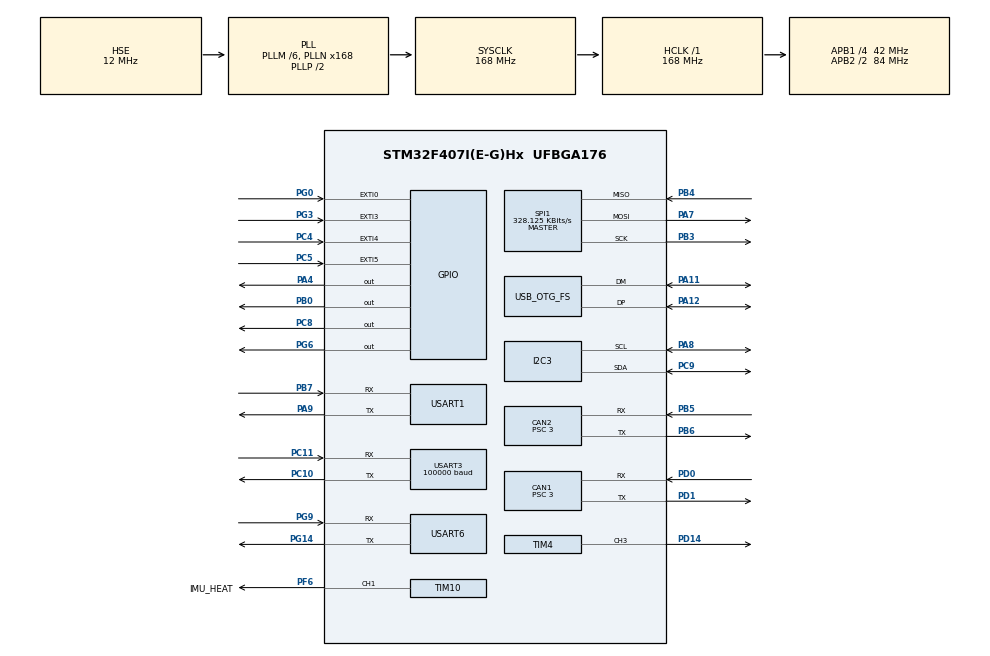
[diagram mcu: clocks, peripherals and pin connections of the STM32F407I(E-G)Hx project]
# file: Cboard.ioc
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CAN1.BS1=CAN_BS1_10TQ
CAN1.BS2=CAN_BS2_3TQ
CAN1.CalculateBaudRate=1000000
CAN1.CalculateTimeBit=1000
CAN1.CalculateTimeQuantum=71.42857142857143
CAN1.Prescaler=3
CAN2.BS1=CAN_BS1_10TQ
CAN2.BS2=CAN_BS2_3TQ
CAN2.CalculateBaudRate=1000000
CAN2.CalculateTimeBit=1000
CAN2.CalculateTimeQuantum=71.42857142857143
CAN2.Prescaler=3
Dma.Request0=SPI1_RX
Dma.Request1=SPI1_TX
Dma.Request2=USART3_RX
Dma.Request3=USART6_RX
Dma.Request4=USART6_TX
Dma.Request5=USART1_TX
Dma.Request6=USART1_RX
Dma.SPI1_RX.0.Direction=DMA_PERIPH_TO_MEMORY
Dma.SPI1_RX.0.FIFOMode=DMA_FIFOMODE_DISABLE
Dma.SPI1_RX.0.Instance=DMA2_Stream2
Dma.SPI1_RX.0.MemDataAlignment=DMA_MDATAALIGN_BYTE
Dma.SPI1_RX.0.MemInc=DMA_MINC_ENABLE
Dma.SPI1_RX.0.Mode=DMA_NORMAL
Dma.SPI1_RX.0.PeriphDataAlignment=DMA_PDATAALIGN_BYTE
Dma.SPI1_RX.0.PeriphInc=DMA_PINC_DISABLE
Dma.SPI1_RX.0.Priority=DMA_PRIORITY_VERY_HIGH
Dma.SPI1_TX.1.Direction=DMA_MEMORY_TO_PERIPH
Dma.SPI1_TX.1.FIFOMode=DMA_FIFOMODE_DISABLE
Dma.SPI1_TX.1.Instance=DMA2_Stream3
Dma.SPI1_TX.1.MemDataAlignment=DMA_MDATAALIGN_BYTE
Dma.SPI1_TX.1.MemInc=DMA_MINC_ENABLE
Dma.SPI1_TX.1.Mode=DMA_NORMAL
Dma.SPI1_TX.1.PeriphDataAlignment=DMA_PDATAALIGN_BYTE
Dma.SPI1_TX.1.PeriphInc=DMA_PINC_DISABLE
Dma.SPI1_TX.1.Priority=DMA_PRIORITY_HIGH
Dma.USART1_RX.6.Direction=DMA_PERIPH_TO_MEMORY
Dma.USART1_RX.6.FIFOMode=DMA_FIFOMODE_DISABLE
Dma.USART1_RX.6.Instance=DMA2_Stream5
Dma.USART1_RX.6.MemDataAlignment=DMA_MDATAALIGN_BYTE
Dma.USART1_RX.6.MemInc=DMA_MINC_ENABLE
Dma.USART1_RX.6.Mode=DMA_CIRCULAR
Dma.USART1_RX.6.PeriphDataAlignment=DMA_PDATAALIGN_BYTE
Dma.USART1_RX.6.PeriphInc=DMA_PINC_DISABLE
Dma.USART1_RX.6.Priority=DMA_PRIORITY_MEDIUM
Dma.USART1_TX.5.Direction=DMA_MEMORY_TO_PERIPH
Dma.USART1_TX.5.FIFOMode=DMA_FIFOMODE_DISABLE
Dma.USART1_TX.5.Instance=DMA2_Stream7
Dma.USART1_TX.5.MemDataAlignment=DMA_MDATAALIGN_BYTE
Dma.USART1_TX.5.MemInc=DMA_MINC_ENABLE
Dma.USART1_TX.5.Mode=DMA_CIRCULAR
Dma.USART1_TX.5.PeriphDataAlignment=DMA_PDATAALIGN_BYTE
Dma.USART1_TX.5.PeriphInc=DMA_PINC_DISABLE
Dma.USART1_TX.5.Priority=DMA_PRIORITY_MEDIUM
Dma.USART3_RX.2.Direction=DMA_PERIPH_TO_MEMORY
Dma.USART3_RX.2.FIFOMode=DMA_FIFOMODE_DISABLE
Dma.USART3_RX.2.Instance=DMA1_Stream1
Dma.USART3_RX.2.MemDataAlignment=DMA_MDATAALIGN_BYTE
Dma.USART3_RX.2.MemInc=DMA_MINC_ENABLE
Dma.USART3_RX.2.Mode=DMA_CIRCULAR
Dma.USART3_RX.2.PeriphDataAlignment=DMA_PDATAALIGN_BYTE
Dma.USART3_RX.2.PeriphInc=DMA_PINC_DISABLE
Dma.USART3_RX.2.Priority=DMA_PRIORITY_VERY_HIGH
Dma.USART6_RX.3.Direction=DMA_PERIPH_TO_MEMORY
Dma.USART6_RX.3.FIFOMode=DMA_FIFOMODE_DISABLE
Dma.USART6_RX.3.Instance=DMA2_Stream1
Dma.USART6_RX.3.MemDataAlignment=DMA_MDATAALIGN_BYTE
Dma.USART6_RX.3.MemInc=DMA_MINC_ENABLE
Dma.USART6_RX.3.Mode=DMA_NORMAL
Dma.USART6_RX.3.PeriphDataAlignment=DMA_PDATAALIGN_BYTE
Dma.USART6_RX.3.PeriphInc=DMA_PINC_DISABLE
Dma.USART6_RX.3.Priority=DMA_PRIORITY_HIGH
Dma.USART6_TX.4.Direction=DMA_MEMORY_TO_PERIPH
Dma.USART6_TX.4.FIFOMode=DMA_FIFOMODE_DISABLE
Dma.USART6_TX.4.Instance=DMA2_Stream6
Dma.USART6_TX.4.MemDataAlignment=DMA_MDATAALIGN_BYTE
Dma.USART6_TX.4.MemInc=DMA_MINC_ENABLE
Dma.USART6_TX.4.Mode=DMA_NORMAL
Dma.USART6_TX.4.PeriphDataAlignment=DMA_PDATAALIGN_BYTE
Dma.USART6_TX.4.PeriphInc=DMA_PINC_DISABLE
Dma.USART6_TX.4.Priority=DMA_PRIORITY_VERY_HIGH
FREERTOS.INCLUDE_eTaskGetState=1
FREERTOS.INCLUDE_pcTaskGetTaskName=1
FREERTOS.INCLUDE_uxTaskGetStackHighWaterMark=1
FREERTOS.INCLUDE_uxTaskGetStackHighWaterMark2=0
FREERTOS.INCLUDE_vTaskCleanUpResources=1
FREERTOS.INCLUDE_vTaskDelayUntil=1
FREERTOS.INCLUDE_xEventGroupSetBitFromISR=1
FREERTOS.INCLUDE_xQueueGetMutexHolder=1
FREERTOS.INCLUDE_xSemaphoreGetMutexHolder=1
FREERTOS.INCLUDE_xTaskAbortDelay=1
FREERTOS.INCLUDE_xTaskGetCurrentTaskHandle=1
FREERTOS.INCLUDE_xTaskGetHandle=1
FREERTOS.INCLUDE_xTimerPendFunctionCall=1
FREERTOS.Tasks01=Check_Task,-1,256,Start_Check_Task,Default,NULL,Dynamic,NULL,NULL;Ins_Task,3,1024,Start_Ins_Task,Default,NULL,Dynamic,NULL,NULL;Chassis_Task,2,1024,Start_Chassis_Task,Default,NULL,Dynamic,NULL,NULL;Board_Can_Task,0,256,Start_Board_Can_Task,Default,NULL,Dynamic,NULL,NULL;Ref_Task,0,256,Start_Ref_Task,Default,NULL,Dynamic,NULL,NULL;Super_Cap_Task,1,256,Start_Super_Cap,Default,NULL,Dynamic,NULL,NULL
FREERTOS.configTOTAL_HEAP_SIZE=24567
FREERTOS.configUSE_TASK_NOTIFICATIONS=1
FREERTOS.configUSE_TIMERS=1
I2C3.I2C_Mode=I2C_Fast
Mcu.Family=STM32F4
Mcu.Name=STM32F407I(E-G)Hx
Mcu.Package=UFBGA176
NVIC.CAN1_RX0_IRQn=true\:5\:0\:true\:false\:true\:true\:true\:true\:true
NVIC.CAN2_RX1_IRQn=true\:5\:0\:true\:false\:true\:true\:true\:true\:true
NVIC.DMA1_Stream1_IRQn=true\:5\:0\:false\:false\:true\:true\:false\:true\:true
NVIC.DMA2_Stream1_IRQn=true\:5\:0\:false\:false\:true\:true\:false\:true\:true
NVIC.DMA2_Stream2_IRQn=true\:5\:0\:false\:false\:true\:true\:false\:true\:true
NVIC.DMA2_Stream3_IRQn=true\:5\:0\:false\:false\:true\:true\:false\:true\:true
NVIC.DMA2_Stream5_IRQn=true\:5\:0\:false\:false\:true\:true\:false\:true\:true
NVIC.DMA2_Stream6_IRQn=true\:5\:0\:false\:false\:true\:true\:false\:true\:true
NVIC.DMA2_Stream7_IRQn=true\:5\:0\:false\:false\:true\:true\:false\:true\:true
NVIC.EXTI0_IRQn=true\:5\:0\:false\:false\:true\:true\:true\:true\:true
NVIC.EXTI3_IRQn=true\:5\:0\:false\:false\:true\:true\:true\:true\:true
NVIC.EXTI4_IRQn=true\:5\:0\:false\:false\:true\:true\:true\:true\:true
NVIC.EXTI9_5_IRQn=true\:5\:0\:false\:false\:true\:true\:true\:true\:true
NVIC.OTG_FS_IRQn=true\:5\:0\:false\:false\:true\:true\:false\:true\:true
NVIC.PriorityGroup=NVIC_PRIORITYGROUP_4
NVIC.TIM2_IRQn=true\:15\:0\:false\:false\:true\:false\:false\:true\:true
NVIC.TIM3_IRQn=true\:5\:0\:false\:false\:true\:true\:true\:true\:true
NVIC.TimeBase=TIM2_IRQn
NVIC.TimeBaseIP=TIM2
NVIC.USART3_IRQn=true\:5\:0\:false\:false\:true\:true\:true\:true\:true
NVIC.USART6_IRQn=true\:5\:0\:false\:false\:true\:true\:true\:true\:true
PA11.Mode=Device_Only
PA11.Signal=USB_OTG_FS_DM
PA12.Mode=Device_Only
PA12.Signal=USB_OTG_FS_DP
PA13.Mode=Serial_Wire
PA13.Signal=SYS_JTMS-SWDIO
PA14.Mode=Serial_Wire
PA14.Signal=SYS_JTCK-SWCLK
PA4.GPIO_PuPd=GPIO_PULLUP
PA4.GPIO_Speed=GPIO_SPEED_FREQ_HIGH
PA4.PinState=GPIO_PIN_SET
PA4.Signal=GPIO_Output
PA7.GPIO_PuPd=GPIO_PULLUP
PA7.Mode=Full_Duplex_Master
PA7.Signal=SPI1_MOSI
PA8.Mode=I2C
PA8.Signal=I2C3_SCL
PA9.Mode=Asynchronous
PA9.Signal=USART1_TX
PB0.GPIO_PuPd=GPIO_PULLUP
PB0.GPIO_Speed=GPIO_SPEED_FREQ_HIGH
PB0.PinState=GPIO_PIN_SET
PB0.Signal=GPIO_Output
PB3.GPIO_PuPd=GPIO_PULLUP
PB3.Mode=Full_Duplex_Master
PB3.Signal=SPI1_SCK
PB4.GPIO_PuPd=GPIO_PULLUP
PB4.Mode=Full_Duplex_Master
PB4.Signal=SPI1_MISO
PB5.Mode=CAN_Activate
PB5.Signal=CAN2_RX
PB6.Mode=CAN_Activate
PB6.Signal=CAN2_TX
PB7.Mode=Asynchronous
PB7.Signal=USART1_RX
PC10.Mode=Asynchronous
PC10.Signal=USART3_TX
PC11.Mode=Asynchronous
PC11.Signal=USART3_RX
PC4.GPIO_ModeDefaultEXTI=GPIO_MODE_IT_FALLING
PC4.GPIO_PuPd=GPIO_PULLUP
PC4.Signal=GPXTI4
PC5.GPIO_ModeDefaultEXTI=GPIO_MODE_IT_FALLING
PC5.GPIO_PuPd=GPIO_PULLUP
PC5.Signal=GPXTI5
PC8.GPIO_PuPd=GPIO_NOPULL
PC8.PinState=GPIO_PIN_SET
PC8.Signal=GPIO_Output
PC9.Mode=I2C
PC9.Signal=I2C3_SDA
PD0.Mode=CAN_Activate
PD0.Signal=CAN1_RX
PD1.Mode=CAN_Activate
PD1.Signal=CAN1_TX
PD14.Signal=S_TIM4_CH3
PF6.GPIO_Label=IMU_HEAT
PF6.GPIO_PuPd=GPIO_PULLUP
PF6.GPIO_Speed=GPIO_SPEED_FREQ_HIGH
PF6.Signal=S_TIM10_CH1
PG0.GPIO_ModeDefaultEXTI=GPIO_MODE_IT_FALLING
PG0.GPIO_PuPd=GPIO_PULLUP
PG0.Signal=GPXTI0
PG14.Mode=Asynchronous
PG14.Signal=USART6_TX
PG3.GPIO_ModeDefaultEXTI=GPIO_MODE_IT_FALLING
PG3.GPIO_PuPd=GPIO_PULLUP
PG3.Signal=GPXTI3
PG6.GPIO_PuPd=GPIO_PULLUP
PG6.GPIO_Speed=GPIO_SPEED_FREQ_HIGH
PG6.PinState=GPIO_PIN_SET
PG6.Signal=GPIO_Output
PG9.Mode=Asynchronous
PG9.Signal=USART6_RX
PH0-OSC_IN.Mode=HSE-External-Oscillator
PH0-OSC_IN.Signal=RCC_OSC_IN
PH1-OSC_OUT.Mode=HSE-External-Oscillator
PH1-OSC_OUT.Signal=RCC_OSC_OUT
ProjectManager.HeapSize=0x1000
ProjectManager.StackSize=0x400
ProjectManager.TargetToolchain=MDK-ARM V5.32
RCC.48MHZClocksFreq_Value=48000000
RCC.AHBFreq_Value=168000000
RCC.APB1CLKDivider=RCC_HCLK_DIV4
RCC.APB1Freq_Value=42000000
RCC.APB1TimFreq_Value=84000000
RCC.APB2CLKDivider=RCC_HCLK_DIV2
RCC.APB2Freq_Value=84000000
RCC.APB2TimFreq_Value=168000000
RCC.CortexFreq_Value=168000000
RCC.HCLKFreq_Value=168000000
RCC.HSE_VALUE=12000000
RCC.HSI_VALUE=16000000
RCC.LSE_VALUE=32768
RCC.PLLM=6
RCC.PLLN=168
RCC.PLLQ=7
RCC.SYSCLKFreq_VALUE=168000000
RCC.SYSCLKSource=RCC_SYSCLKSOURCE_PLLCLK
RCC.VCOOutputFreq_Value=336000000
SH.S_TIM10_CH1.0=TIM10_CH1,PWM Generation1 CH1
SH.S_TIM4_CH3.0=TIM4_CH3,PWM Generation3 CH3
SPI1.BaudRatePrescaler=SPI_BAUDRATEPRESCALER_256
SPI1.CLKPhase=SPI_PHASE_2EDGE
SPI1.CLKPolarity=SPI_POLARITY_HIGH
SPI1.CalculateBaudRate=328.125 KBits/s
SPI1.Direction=SPI_DIRECTION_2LINES
SPI1.Mode=SPI_MODE_MASTER
SPI1.VirtualType=VM_MASTER
TIM10.Channel=TIM_CHANNEL_1
TIM10.Period=2000-1
TIM10.Prescaler=84-1
TIM3.AutoReloadPreload=TIM_AUTORELOAD_PRELOAD_ENABLE
TIM3.Period=10000-1
TIM3.Prescaler=168-1
TIM4.Channel-PWM\ Generation3\ CH3=TIM_CHANNEL_3
TIM4.Period=20999
USART1.VirtualMode=VM_ASYNC
USART3.BaudRate=100000
USART3.VirtualMode=VM_ASYNC
USART6.VirtualMode=VM_ASYNC
USB_DEVICE.CLASS_NAME_FS=CDC
USB_DEVICE.VirtualMode-CDC_FS=Cdc
USB_DEVICE.VirtualModeFS=Cdc_FS
USB_OTG_FS.VirtualMode=Device_Only
VP_CRC_VS_CRC.Mode=CRC_Activate
VP_FREERTOS_VS_CMSIS_V1.Mode=CMSIS_V1
VP_SYS_VS_tim2.Mode=TIM2
VP_TIM10_VS_ClockSourceINT.Mode=Enable_Timer
VP_TIM3_VS_ClockSourceINT.Mode=Internal
VP_TIM4_VS_ClockSourceINT.Mode=Internal
VP_USB_DEVICE_VS_USB_DEVICE_CDC_FS.Mode=CDC_FS
board=custom

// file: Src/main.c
/* USER CODE BEGIN Header */
/**
  ******************************************************************************
  * @file           : main.c
  * @brief          : Main program body
  ******************************************************************************
  * @attention
  *
  * Copyright (c) 2025 STMicroelectronics.
  * All rights reserved.
  *
  * This software is licensed under terms that can be found in the LICENSE file
  * in the root directory of this software component.
  * If no LICENSE file comes with this software, it is provided AS-IS.
  *
  ******************************************************************************
  */
/* USER CODE END Header */
#include "main.h"
#include "cmsis_os.h"
#include "can.h"
#include "crc.h"
#include "dma.h"
#include "i2c.h"
#include "spi.h"
#include "tim.h"
#include "usart.h"
#include "usb_device.h"
#include "gpio.h"

/* USER CODE BEGIN Includes */

#include "bsp_dwt.h"
#include "bsp_can.h"
#include "bsp_buzzer.h"
#include "BMI088driver.h"
#include "Remote_Control.h"

/* USER CODE END Includes */

void SystemClock_Config(void);
void MX_FREERTOS_Init(void);

int main(void)
{

  /* MCU Configuration--------------------------------------------------------*/

  /* Reset of all peripherals, Initializes the Flash interface and the Systick. */
  HAL_Init();

  /* Configure the system clock */
  SystemClock_Config();

  /* Initialize all configured peripherals */
  MX_GPIO_Init();
  MX_DMA_Init();
  MX_I2C3_Init();
  MX_SPI1_Init();
  MX_TIM10_Init();
  MX_CAN1_Init();
  MX_USART3_UART_Init();
  MX_TIM3_Init();
  MX_USART6_UART_Init();
  MX_CRC_Init();
  MX_CAN2_Init();
  MX_TIM4_Init();
  MX_USART1_UART_Init();
  /* USER CODE BEGIN 2 */

	//BMI088
	DWT_Init(168);
	while(BMI088_init(&hspi1, 1) != BMI088_NO_ERROR){;}

	//BUZZER
	HAL_TIM_Base_Start(&htim4);
	HAL_TIM_PWM_Start(&htim4, TIM_CHANNEL_3);
	Buzzer_Off();

  //RC
  Remote_Control_Init();

	//CAN
	CAN_Init();

  /* USER CODE END 2 */

  /* Call init function for freertos objects (in cmsis_os2.c) */
  MX_FREERTOS_Init();

  /* Start scheduler */
  osKernelStart();

  /* We should never get here as control is now taken by the scheduler */

  /* Infinite loop */
  while (1)
  {

  }
}

void SystemClock_Config(void)
{
  RCC_OscInitTypeDef RCC_OscInitStruct = {0};
  RCC_ClkInitTypeDef RCC_ClkInitStruct = {0};

  /** Configure the main internal regulator output voltage
  */
  __HAL_RCC_PWR_CLK_ENABLE();
  __HAL_PWR_VOLTAGESCALING_CONFIG(PWR_REGULATOR_VOLTAGE_SCALE1);

  /** Initializes the RCC Oscillators according to the specified parameters
  * in the RCC_OscInitTypeDef structure.
  */
  RCC_OscInitStruct.OscillatorType = RCC_OSCILLATORTYPE_HSE;
  RCC_OscInitStruct.HSEState = RCC_HSE_ON;
  RCC_OscInitStruct.PLL.PLLState = RCC_PLL_ON;
  RCC_OscInitStruct.PLL.PLLSource = RCC_PLLSOURCE_HSE;
  RCC_OscInitStruct.PLL.PLLM = 6;
  RCC_OscInitStruct.PLL.PLLN = 168;
  RCC_OscInitStruct.PLL.PLLP = RCC_PLLP_DIV2;
  RCC_OscInitStruct.PLL.PLLQ = 7;
  if (HAL_RCC_OscConfig(&RCC_OscInitStruct) != HAL_OK)
  {
    Error_Handler();
  }

  /** Initializes the CPU, AHB and APB buses clocks
  */
  RCC_ClkInitStruct.ClockType = RCC_CLOCKTYPE_HCLK|RCC_CLOCKTYPE_SYSCLK
                              |RCC_CLOCKTYPE_PCLK1|RCC_CLOCKTYPE_PCLK2;
  RCC_ClkInitStruct.SYSCLKSource = RCC_SYSCLKSOURCE_PLLCLK;
  RCC_ClkInitStruct.AHBCLKDivider = RCC_SYSCLK_DIV1;
  RCC_ClkInitStruct.APB1CLKDivider = RCC_HCLK_DIV4;
  RCC_ClkInitStruct.APB2CLKDivider = RCC_HCLK_DIV2;

  if (HAL_RCC_ClockConfig(&RCC_ClkInitStruct, FLASH_LATENCY_5) != HAL_OK)
  {
    Error_Handler();
  }
}

void HAL_TIM_PeriodElapsedCallback(TIM_HandleTypeDef *htim)
{
  if (htim->Instance == TIM2)
  {
    HAL_IncTick();
  }
}

void Error_Handler(void)
{
  __disable_irq();
  while (1)
  {
  }
}

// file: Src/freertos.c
/* USER CODE BEGIN Header */
/**
  ******************************************************************************
  * File Name          : freertos.c
  * Description        : Code for freertos applications
  ******************************************************************************
  * @attention
  *
  * Copyright (c) 2025 STMicroelectronics.
  * All rights reserved.
  *
  * This software is licensed under terms that can be found in the LICENSE file
  * in the root directory of this software component.
  * If no LICENSE file comes with this software, it is provided AS-IS.
  *
  ******************************************************************************
  */
/* USER CODE END Header */

#include "FreeRTOS.h"
#include "task.h"
#include "main.h"
#include "cmsis_os.h"

/* USER CODE BEGIN Includes */

#include "Ins_Task.h"
#include "Ref_Task.h"
#include "Check_Task.h"
#include "Chassis_Task.h"
#include "Super_Cap_Task.h"
#include "Board_Can_Task.h"

/* USER CODE END Includes */

osThreadId Check_TaskHandle;
osThreadId Ins_TaskHandle;
osThreadId Chassis_TaskHandle;
osThreadId Board_Can_TaskHandle;
osThreadId Ref_TaskHandle;
osThreadId Super_Cap_TaskHandle;

void Start_Check_Task(void const * argument);
void Start_Ins_Task(void const * argument);
void Start_Chassis_Task(void const * argument);
void Start_Board_Can_Task(void const * argument);
void Start_Ref_Task(void const * argument);
void Start_Super_Cap(void const * argument);

extern void MX_USB_DEVICE_Init(void);
void MX_FREERTOS_Init(void); /* (MISRA C 2004 rule 8.1) */

/* GetIdleTaskMemory prototype (linked to static allocation support) */
void vApplicationGetIdleTaskMemory( StaticTask_t **ppxIdleTaskTCBBuffer, StackType_t **ppxIdleTaskStackBuffer, uint32_t *pulIdleTaskStackSize );

/* GetTimerTaskMemory prototype (linked to static allocation support) */
void vApplicationGetTimerTaskMemory( StaticTask_t **ppxTimerTaskTCBBuffer, StackType_t **ppxTimerTaskStackBuffer, uint32_t *pulTimerTaskStackSize );

/* USER CODE BEGIN GET_IDLE_TASK_MEMORY */
static StaticTask_t xIdleTaskTCBBuffer;
static StackType_t xIdleStack[configMINIMAL_STACK_SIZE];

void vApplicationGetIdleTaskMemory( StaticTask_t **ppxIdleTaskTCBBuffer, StackType_t **ppxIdleTaskStackBuffer, uint32_t *pulIdleTaskStackSize )
{
  *ppxIdleTaskTCBBuffer = &xIdleTaskTCBBuffer;
  *ppxIdleTaskStackBuffer = &xIdleStack[0];
  *pulIdleTaskStackSize = configMINIMAL_STACK_SIZE;
  /* place for user code */
}
/* USER CODE END GET_IDLE_TASK_MEMORY */

/* USER CODE BEGIN GET_TIMER_TASK_MEMORY */
static StaticTask_t xTimerTaskTCBBuffer;
static StackType_t xTimerStack[configTIMER_TASK_STACK_DEPTH];

void vApplicationGetTimerTaskMemory( StaticTask_t **ppxTimerTaskTCBBuffer, StackType_t **ppxTimerTaskStackBuffer, uint32_t *pulTimerTaskStackSize )
{
  *ppxTimerTaskTCBBuffer = &xTimerTaskTCBBuffer;
  *ppxTimerTaskStackBuffer = &xTimerStack[0];
  *pulTimerTaskStackSize = configTIMER_TASK_STACK_DEPTH;
  /* place for user code */
}
/* USER CODE END GET_TIMER_TASK_MEMORY */

void MX_FREERTOS_Init(void) {

  /* Create the thread(s) */
  /* definition and creation of Check_Task */
  osThreadDef(Check_Task, Start_Check_Task, osPriorityBelowNormal, 0, 256);
  Check_TaskHandle = osThreadCreate(osThread(Check_Task), NULL);

  /* definition and creation of Ins_Task */
  osThreadDef(Ins_Task, Start_Ins_Task, osPriorityRealtime, 0, 1024);
  Ins_TaskHandle = osThreadCreate(osThread(Ins_Task), NULL);

  /* definition and creation of Chassis_Task */
  osThreadDef(Chassis_Task, Start_Chassis_Task, osPriorityHigh, 0, 1024);
  Chassis_TaskHandle = osThreadCreate(osThread(Chassis_Task), NULL);

  /* definition and creation of Board_Can_Task */
  osThreadDef(Board_Can_Task, Start_Board_Can_Task, osPriorityNormal, 0, 256);
  Board_Can_TaskHandle = osThreadCreate(osThread(Board_Can_Task), NULL);

  /* definition and creation of Ref_Task */
  osThreadDef(Ref_Task, Start_Ref_Task, osPriorityNormal, 0, 256);
  Ref_TaskHandle = osThreadCreate(osThread(Ref_Task), NULL);

  /* definition and creation of Super_Cap_Task */
  osThreadDef(Super_Cap_Task, Start_Super_Cap, osPriorityAboveNormal, 0, 256);
  Super_Cap_TaskHandle = osThreadCreate(osThread(Super_Cap_Task), NULL);

}

void Start_Check_Task(void const * argument)
{
  /* init code for USB_DEVICE */
  MX_USB_DEVICE_Init();
  /* USER CODE BEGIN Start_Check_Task */

	Check_Init();

  /* Infinite loop */
  for(;;)
  {

    Check_Task();

    osDelay(10);
  }
  /* USER CODE END Start_Check_Task */
}

void Start_Ins_Task(void const * argument)
{
  /* USER CODE BEGIN Start_Ins_Task */

	INS_Init();

  /* Infinite loop */
  for(;;)
  {

		INS_Task();

    osDelay(1);
  }
  /* USER CODE END Start_Ins_Task */
}

void Start_Chassis_Task(void const * argument)
{
  /* USER CODE BEGIN Start_Chassis_Task */

	Chassis_Init();

  /* Infinite loop */
  for(;;)
  {

		Chassis_Task();

    osDelay(1);
  }
  /* USER CODE END Start_Chassis_Task */
}

void Start_Board_Can_Task(void const * argument)
{
  /* USER CODE BEGIN Start_Board_Can_Task */

	Board_Can_Init();

  /* Infinite loop */
  for(;;)
  {

		Board_Can_Task();

    osDelay(3);
  }
  /* USER CODE END Start_Board_Can_Task */
}

void Start_Ref_Task(void const * argument)
{
  /* USER CODE BEGIN Start_Ref_Task */

	Ref_Init();

  /* Infinite loop */
  for(;;)
  {
		Ref_Task();

    osDelay(3);
  }
  /* USER CODE END Start_Ref_Task */
}

void Start_Super_Cap(void const * argument)
{
  /* USER CODE BEGIN Start_Super_Cap */

	Super_Cap_Init();

  /* Infinite loop */
  for(;;)
  {
		Super_Cap_Task();

    osDelay(5);
  }
  /* USER CODE END Start_Super_Cap */
}
